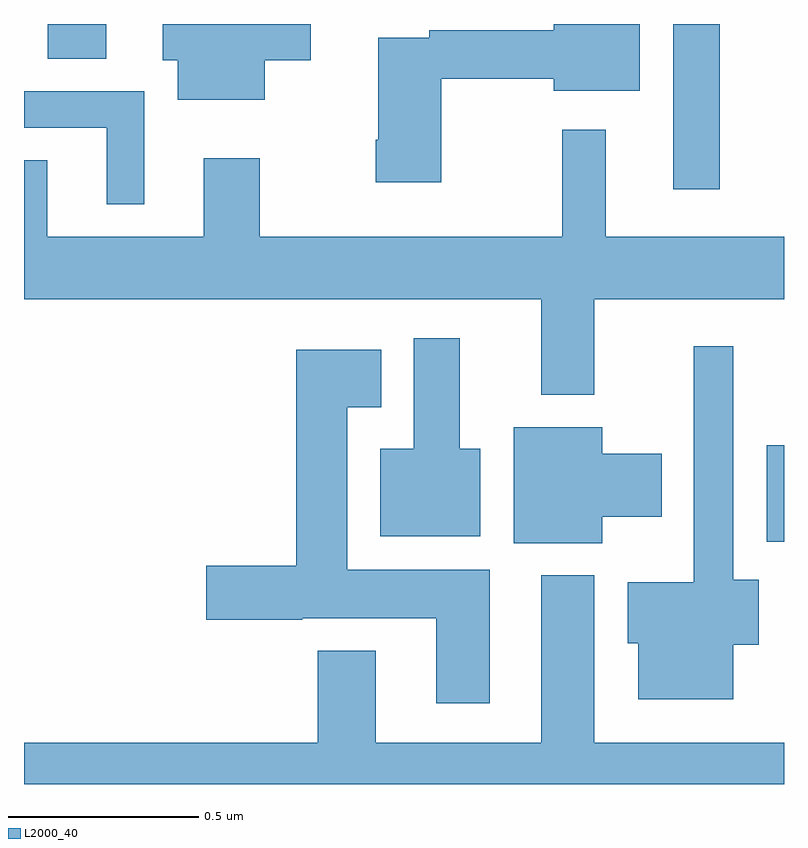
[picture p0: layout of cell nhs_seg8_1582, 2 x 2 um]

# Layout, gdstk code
import gdstk
lib = gdstk.Library(unit=1e-6, precision=1e-09)
def R(c, l, rs):  # rectangles x0, y0, x1, y1
    for r in rs: c.add(gdstk.rectangle(r[:2], r[2:], *l))
def P(c, l, *ps):  # polygons
    for p in ps: c.add(gdstk.Polygon(p, *l))
L2000_40 = (2000, 40)

nhs_seg8_1582 = lib.new_cell('nhs_seg8_1582')
R(nhs_seg8_1582, L2000_40, [(133.955,1106.537,134,1106.791), (133.709,1107.465,133.831,1107.9), (132.062,1107.808,132.217,1107.9)])
P(nhs_seg8_1582, L2000_40, [(133.098,1107.756),(133.394,1107.756),(133.394,1107.725),(133.621,1107.725),(133.621,1107.9),(133.394,1107.9),(133.394,1107.884),(133.066,1107.884),(133.066,1107.864),(132.932,1107.864),(132.932,1107.595),(132.925,1107.595),(132.925,1107.483),(133.098,1107.483)],
  [(132.634,1107.805),(132.754,1107.805),(132.754,1107.9),(132.365,1107.9),(132.365,1107.805),(132.404,1107.805),(132.404,1107.701),(132.634,1107.701)],
  [(132.316,1107.723),(132,1107.723),(132,1107.627),(132.218,1107.627),(132.218,1107.426),(132.316,1107.426)],
  [(133.501,1107.176),(134,1107.176),(134,1107.34),(133.531,1107.34),(133.531,1107.622),(133.417,1107.622),(133.417,1107.34),(132.621,1107.34),(132.621,1107.547),(132.473,1107.547),(132.473,1107.34),(132.061,1107.34),(132.061,1107.542),(132,1107.542),(132,1107.176),(133.361,1107.176),(133.361,1106.924),(133.501,1106.924)],
  [(133.201,1106.782),(133.147,1106.782),(133.147,1107.073),(133.025,1107.073),(133.025,1106.782),(132.938,1106.782),(132.938,1106.552),(133.201,1106.552)],
  [(133.867,1106.267),(133.933,1106.267),(133.933,1106.438),(133.867,1106.438),(133.867,1107.052),(133.763,1107.052),(133.763,1106.431),(133.589,1106.431),(133.589,1106.271),(133.616,1106.271),(133.616,1106.123),(133.867,1106.123)],
  [(133.225,1106.464),(132.85,1106.464),(132.85,1106.891),(132.94,1106.891),(132.94,1107.043),(132.716,1107.043),(132.716,1106.474),(132.48,1106.474),(132.48,1106.332),(132.732,1106.332),(132.732,1106.336),(133.085,1106.336),(133.085,1106.112),(133.225,1106.112)],
  [(133.522,1106.603),(133.678,1106.603),(133.678,1106.769),(133.522,1106.769),(133.522,1106.839),(133.289,1106.839),(133.289,1106.534),(133.522,1106.534)],
  [(134,1106.008),(133.501,1106.008),(133.501,1106.449),(133.361,1106.449),(133.361,1106.008),(132.925,1106.008),(132.925,1106.251),(132.773,1106.251),(132.773,1106.008),(132,1106.008),(132,1105.9),(134,1105.9)])

lib.write_gds('nhs_seg8_1582.gds')
